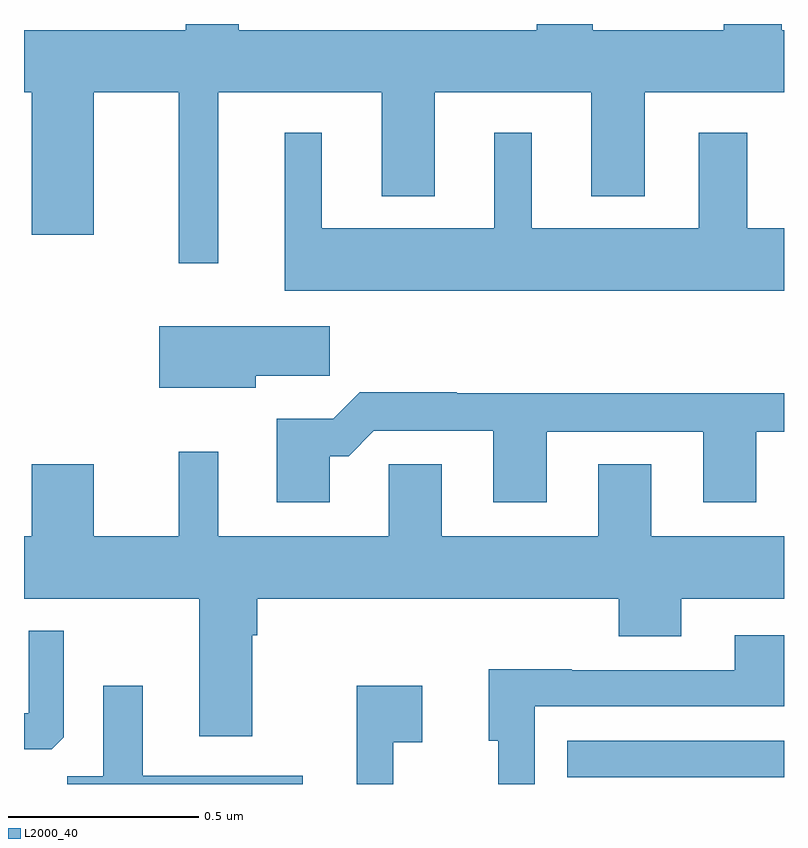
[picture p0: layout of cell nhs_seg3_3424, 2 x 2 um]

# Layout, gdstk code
import gdstk
lib = gdstk.Library(unit=1e-6, precision=1e-09)
def R(c, l, rs):  # rectangles x0, y0, x1, y1
    for r in rs: c.add(gdstk.rectangle(r[:2], r[2:], *l))
def P(c, l, *ps):  # polygons
    for p in ps: c.add(gdstk.Polygon(p, *l))
L2000_40 = (2000, 40)

nhs_seg3_3424 = lib.new_cell('nhs_seg3_3424')
R(nhs_seg3_3424, L2000_40, [(154.429,728.418,155,728.514)])
P(nhs_seg3_3424, L2000_40, [(153,730.22),(153.02,730.22),(153.02,729.846),(153.184,729.846),(153.184,730.22),(153.407,730.22),(153.407,729.771),(153.511,729.771),(153.511,730.22),(153.941,730.22),(153.941,729.947),(154.081,729.947),(154.081,730.22),(154.493,730.22),(154.493,729.947),(154.633,729.947),(154.633,730.22),(155,730.22),(155,730.384),(154.994,730.384),(154.994,730.4),(154.841,730.4),(154.841,730.384),(154.497,730.384),(154.497,730.4),(154.349,730.4),(154.349,730.384),(153.565,730.384),(153.565,730.4),(153.425,730.4),(153.425,730.384),(153,730.384)],
  [(155,729.862),(154.903,729.862),(154.903,730.114),(154.775,730.114),(154.775,729.862),(154.336,729.862),(154.336,730.114),(154.238,730.114),(154.238,729.862),(153.784,729.862),(153.784,730.114),(153.686,730.114),(153.686,729.698),(155,729.698)],
  [(153.61,729.475),(153.805,729.475),(153.805,729.604),(153.356,729.604),(153.356,729.443),(153.61,729.443)],
  [(153.805,729.263),(153.854,729.263),(153.921,729.33),(154.235,729.33),(154.235,729.141),(154.375,729.141),(154.375,729.327),(154.787,729.327),(154.787,729.141),(154.927,729.141),(154.927,729.327),(155,729.327),(155,729.428),(154.139,729.428),(154.139,729.431),(153.884,729.431),(153.814,729.361),(153.665,729.361),(153.665,729.141),(153.805,729.141)],
  [(153.601,728.792),(153.614,728.792),(153.614,728.888),(154.565,728.888),(154.565,728.789),(154.729,728.789),(154.729,728.888),(155,728.888),(155,729.052),(154.651,729.052),(154.651,729.242),(154.511,729.242),(154.511,729.052),(154.099,729.052),(154.099,729.242),(153.96,729.242),(153.96,729.052),(153.511,729.052),(153.511,729.274),(153.407,729.274),(153.407,729.052),(153.184,729.052),(153.184,729.241),(153.02,729.241),(153.02,729.052),(153,729.052),(153,728.888),(153.461,728.888),(153.461,728.526),(153.601,728.526)],
  [(153.105,728.523),(153.105,728.803),(153.012,728.803),(153.012,728.586),(153,728.586),(153,728.492),(153.073,728.492)],
  [(154.344,728.604),(155,728.604),(155,728.791),(154.871,728.791),(154.871,728.7),(154.441,728.7),(154.441,728.702),(154.223,728.702),(154.223,728.514),(154.248,728.514),(154.248,728.4),(154.344,728.4)],
  [(153.972,728.51),(154.048,728.51),(154.048,728.659),(153.875,728.659),(153.875,728.4),(153.972,728.4)],
  [(153.733,728.422),(153.313,728.422),(153.313,728.659),(153.209,728.659),(153.209,728.42),(153.114,728.42),(153.114,728.4),(153.733,728.4)])

lib.write_gds('nhs_seg3_3424.gds')
